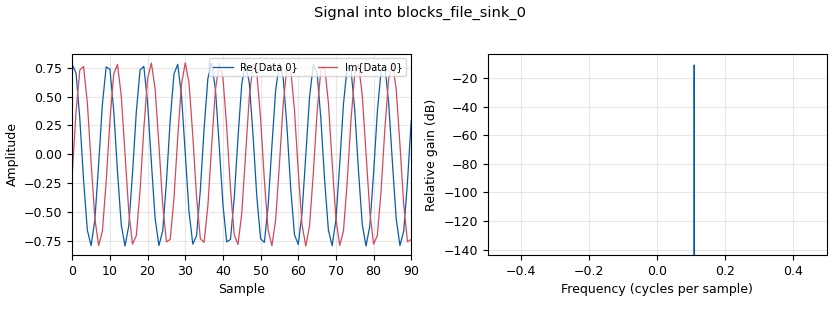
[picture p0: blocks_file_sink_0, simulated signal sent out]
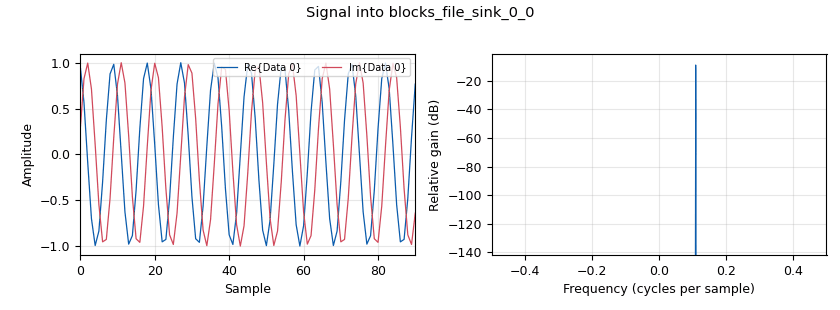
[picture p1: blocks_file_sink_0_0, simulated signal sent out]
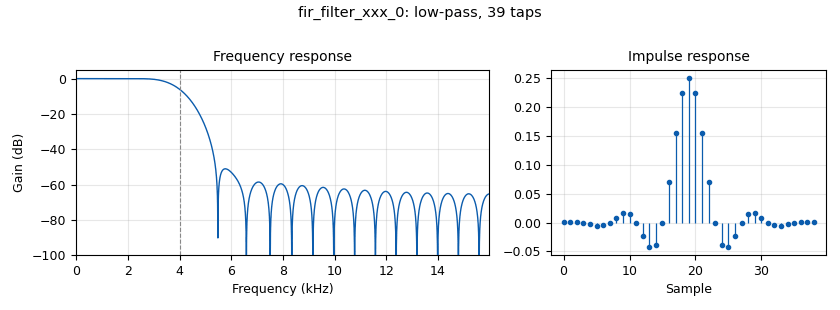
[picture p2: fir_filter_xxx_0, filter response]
options:
  parameters:
    generate_options: no_gui
    id: cudaFilterDecimateTestData
    output_language: python
    run_options: run
    title: Cuda Tune Test
  states: {}

blocks:
- name: samp_rate
  id: variable
  parameters:
    value: '32000'
  states: {}
- name: variable_low_pass_filter_taps_0
  id: variable_low_pass_filter_taps
  parameters:
    cutoff_freq: samp_rate/8
    gain: '1.0'
    samp_rate: samp_rate
    width: samp_rate/16
    win: window.WIN_HAMMING
  states: {}
- name: analog_sig_source_x_0
  id: analog_sig_source_x
  parameters:
    amp: '1'
    freq: '3500'
    offset: '0'
    phase: '0'
    samp_rate: samp_rate
    type: complex
    waveform: analog.GR_COS_WAVE
  states: {}
- name: analog_sig_source_x_0_0
  id: analog_sig_source_x
  parameters:
    amp: '1'
    freq: '3500'
    offset: '0'
    phase: '0'
    samp_rate: samp_rate
    type: complex
    waveform: analog.GR_COS_WAVE
  states: {}
- name: analog_sig_source_x_0_0_0
  id: analog_sig_source_x
  parameters:
    amp: '1'
    freq: '5000'
    offset: '0'
    phase: '0'
    samp_rate: samp_rate
    type: complex
    waveform: analog.GR_COS_WAVE
  states: {}
- name: analog_sig_source_x_0_1
  id: analog_sig_source_x
  parameters:
    amp: '1'
    freq: '5000'
    offset: '0'
    phase: '0'
    samp_rate: samp_rate
    type: complex
    waveform: analog.GR_COS_WAVE
  states: {}
- name: blocks_file_sink_0
  id: blocks_file_sink
  parameters:
    file: filtered_dec1_out_pass.fc32
    type: complex
  states: {}
- name: blocks_file_sink_0_0
  id: blocks_file_sink
  parameters:
    file: unfiltered_in_pass.fc32
    type: complex
  states: {}
- name: blocks_file_sink_0_0_0
  id: blocks_file_sink
  parameters:
    file: unfiltered_in_reject.fc32
    type: complex
  states: {}
- name: blocks_file_sink_0_1
  id: blocks_file_sink
  parameters:
    file: low_pass_filter_taps.f32
    type: float
  states: {}
- name: blocks_file_sink_0_2
  id: blocks_file_sink
  parameters:
    file: filtered_dec1_out_reject.fc32
    type: complex
  states: {}
- name: blocks_head_0
  id: blocks_head
  parameters:
    num_items: samp_rate*8
    type: complex
  states: {}
- name: blocks_head_0_0
  id: blocks_head
  parameters:
    num_items: samp_rate*8
    type: complex
  states: {}
- name: blocks_head_1
  id: blocks_head
  parameters:
    num_items: samp_rate*8
    type: complex
  states: {}
- name: blocks_head_1_0
  id: blocks_head
  parameters:
    num_items: samp_rate*8
    type: complex
  states: {}
- name: blocks_vector_source_x_0
  id: blocks_vector_source_x
  parameters:
    repeat: 'False'
    type: float
    vector: variable_low_pass_filter_taps_0
  states: {}
- name: fir_filter_xxx_0
  id: fir_filter_xxx
  parameters:
    decim: '1'
    taps: variable_low_pass_filter_taps_0
    type: ccf
  states: {}
- name: fir_filter_xxx_0_0
  id: fir_filter_xxx
  parameters:
    decim: '1'
    taps: variable_low_pass_filter_taps_0
    type: ccf
  states: {}

connections:
- [analog_sig_source_x_0, '0', fir_filter_xxx_0, '0']
- [analog_sig_source_x_0_0, '0', blocks_head_0, '0']
- [analog_sig_source_x_0_0_0, '0', blocks_head_0_0, '0']
- [analog_sig_source_x_0_1, '0', fir_filter_xxx_0_0, '0']
- [blocks_head_0, '0', blocks_file_sink_0_0, '0']
- [blocks_head_0_0, '0', blocks_file_sink_0_0_0, '0']
- [blocks_head_1, '0', blocks_file_sink_0, '0']
- [blocks_head_1_0, '0', blocks_file_sink_0_2, '0']
- [blocks_vector_source_x_0, '0', blocks_file_sink_0_1, '0']
- [fir_filter_xxx_0, '0', blocks_head_1, '0']
- [fir_filter_xxx_0_0, '0', blocks_head_1_0, '0']

metadata:
  file_format: 1
